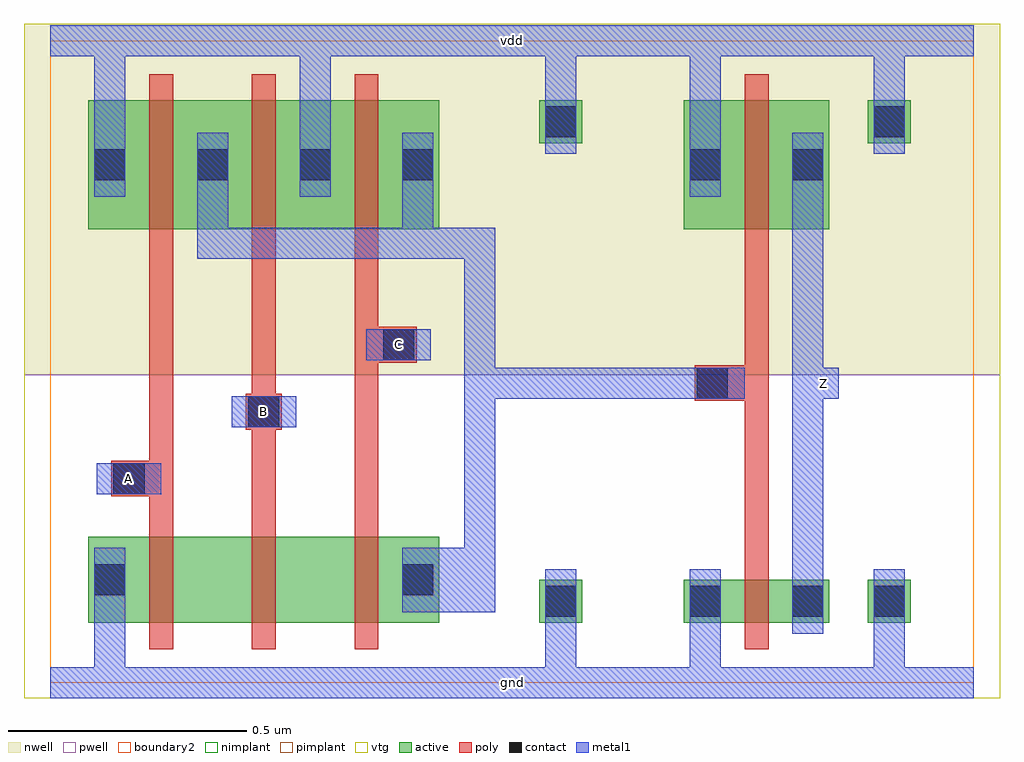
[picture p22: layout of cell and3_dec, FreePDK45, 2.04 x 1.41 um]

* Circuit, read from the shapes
.subckt and3_dec A B C Z gnd vdd
M1 pnand3_0/nmos_m1_w0_180_sm1_dactive_3/D A gnd gnd nfet w=0.18u l=0.05u
M2 pnand3_0/nmos_m1_w0_180_sactive_dactive_4/D B pnand3_0/nmos_m1_w0_180_sm1_dactive_3/D gnd nfet w=0.18u l=0.05u
M3 pinv_1/A C pnand3_0/nmos_m1_w0_180_sactive_dactive_4/D gnd nfet w=0.18u l=0.05u
M4 Z pinv_1/A gnd gnd nfet w=0.09u l=0.05u
M5 pinv_1/A A vdd vdd pfet w=0.27u l=0.05u
M6 vdd B pinv_1/A vdd pfet w=0.27u l=0.05u
M7 pinv_1/A C vdd vdd pfet w=0.27u l=0.05u
M8 Z pinv_1/A vdd vdd pfet w=0.27u l=0.05u
.ends

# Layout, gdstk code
import gdstk
lib = gdstk.Library(unit=1e-6, precision=5e-10)
def R(c, l, rs):  # rectangles x0, y0, x1, y1
    for r in rs: c.add(gdstk.rectangle(r[:2], r[2:], *l))
def A(c, l, x, y, w, h, nx, ny, dx, dy):  # array of equal rectangles
    R(c, l, [(x+i*dx, y+j*dy, x+i*dx+w, y+j*dy+h) for i in range(nx) for j in range(ny)])
active = (1, 0)
pwell = (2, 0)
nwell = (3, 0)
nimplant = (4, 0)
pimplant = (5, 0)
vtg = (6, 0)
poly = (9, 0)
contact = (10, 0)
metal1 = (11, 0)
boundary2 = (239, 0)

contact_10 = lib.new_cell('contact_10')
R(contact_10, active, [(0,0.0225,0.09,0.1125)])
R(contact_10, nwell, [(-0.055,-0.0325,0.145,0.1675)])
R(contact_10, pimplant, [(0,0.0225,0.09,0.1125)])
R(contact_10, contact, [(0.0125,0.035,0.0775,0.1)])
R(contact_10, metal1, [(0.0125,0,0.0775,0.135)])
R(contact_10, boundary2, [(-0.055,-0.0325,0.145,0.1675)])

pmos_m1_w0_270_sm1_dm1 = lib.new_cell('pmos_m1_w0_270_sm1_dm1')
R(pmos_m1_w0_270_sm1_dm1, active, [(0,0,0.305,0.27)])
R(pmos_m1_w0_270_sm1_dm1, nwell, [(-0.08,-0.08,0.385,0.35)])
R(pmos_m1_w0_270_sm1_dm1, pimplant, [(0,0,0.305,0.27)])
R(pmos_m1_w0_270_sm1_dm1, vtg, [(-0.08,-0.08,0.385,0.35)])
R(pmos_m1_w0_270_sm1_dm1, poly, [(0.1275,-0.055,0.1775,0.325), (0.1275,-0.055,0.1775,0.325)])
R(pmos_m1_w0_270_sm1_dm1, metal1, [(0.0125,0.0675,0.0775,0.2025), (0.2275,0.0675,0.2925,0.2025)])
R(pmos_m1_w0_270_sm1_dm1, boundary2, [(-0.08,-0.08,0.385,0.35)])
pmos_m1_w0_270_sm1_dm1.add(gdstk.Reference(contact_10, (0,0.0675)))
pmos_m1_w0_270_sm1_dm1.add(gdstk.Reference(contact_10, (0.215,0.0675)))
pmos_m1_w0_270_sm1_dm1.add(gdstk.Label('S', (0.045,0.135), layer=11, texttype=0))
pmos_m1_w0_270_sm1_dm1.add(gdstk.Label('D', (0.26,0.135), layer=11, texttype=0))
pmos_m1_w0_270_sm1_dm1.add(gdstk.Label('G', (0.1525,0.135), layer=9, texttype=0))

contact_9 = lib.new_cell('contact_9')
R(contact_9, active, [(0,0.0225,0.09,0.1125)])
R(contact_9, pwell, [(-0.055,-0.0325,0.145,0.1675)])
R(contact_9, nimplant, [(0,0.0225,0.09,0.1125)])
R(contact_9, contact, [(0.0125,0.035,0.0775,0.1)])
R(contact_9, metal1, [(0.0125,0,0.0775,0.135)])
R(contact_9, boundary2, [(-0.055,-0.0325,0.145,0.1675)])

nmos_m1_w0_180_sm1_dacti = lib.new_cell('nmos_m1_w0_180_sm1_dactive')
R(nmos_m1_w0_180_sm1_dacti, active, [(0,0,0.305,0.18), (0.215,0.045,0.305,0.135)])
R(nmos_m1_w0_180_sm1_dacti, pwell, [(-0.08,-0.08,0.385,0.26)])
R(nmos_m1_w0_180_sm1_dacti, nimplant, [(0,0,0.305,0.18)])
R(nmos_m1_w0_180_sm1_dacti, vtg, [(-0.08,-0.08,0.385,0.26)])
R(nmos_m1_w0_180_sm1_dacti, poly, [(0.1275,-0.055,0.1775,0.235), (0.1275,-0.055,0.1775,0.235)])
R(nmos_m1_w0_180_sm1_dacti, metal1, [(0.0125,0.0225,0.0775,0.1575)])
R(nmos_m1_w0_180_sm1_dacti, boundary2, [(-0.08,-0.08,0.385,0.26)])
nmos_m1_w0_180_sm1_dacti.add(gdstk.Reference(contact_9, (0,0.0225)))
nmos_m1_w0_180_sm1_dacti.add(gdstk.Label('S', (0.045,0.09), layer=11, texttype=0))
nmos_m1_w0_180_sm1_dacti.add(gdstk.Label('D', (0.26,0.09), layer=1, texttype=0))
nmos_m1_w0_180_sm1_dacti.add(gdstk.Label('G', (0.1525,0.09), layer=9, texttype=0))

nmos_m1_w0_180_sactive_d = lib.new_cell('nmos_m1_w0_180_sactive_dactive')
R(nmos_m1_w0_180_sactive_d, active, [(0,0,0.305,0.18), (0,0.045,0.09,0.135), (0.215,0.045,0.305,0.135)])
R(nmos_m1_w0_180_sactive_d, pwell, [(-0.08,-0.08,0.385,0.26)])
R(nmos_m1_w0_180_sactive_d, nimplant, [(0,0,0.305,0.18)])
R(nmos_m1_w0_180_sactive_d, vtg, [(-0.08,-0.08,0.385,0.26)])
R(nmos_m1_w0_180_sactive_d, poly, [(0.1275,-0.055,0.1775,0.235), (0.1275,-0.055,0.1775,0.235)])
R(nmos_m1_w0_180_sactive_d, boundary2, [(-0.08,-0.08,0.385,0.26)])
nmos_m1_w0_180_sactive_d.add(gdstk.Label('S', (0.045,0.09), layer=1, texttype=0))
nmos_m1_w0_180_sactive_d.add(gdstk.Label('D', (0.26,0.09), layer=1, texttype=0))
nmos_m1_w0_180_sactive_d.add(gdstk.Label('G', (0.1525,0.09), layer=9, texttype=0))

c_nmos_m1_w0_180_sactive_d = lib.new_cell('nmos_m1_w0_180_sactive_dm1')
R(c_nmos_m1_w0_180_sactive_d, active, [(0,0,0.305,0.18), (0,0.045,0.09,0.135)])
R(c_nmos_m1_w0_180_sactive_d, pwell, [(-0.08,-0.08,0.385,0.26)])
R(c_nmos_m1_w0_180_sactive_d, nimplant, [(0,0,0.305,0.18)])
R(c_nmos_m1_w0_180_sactive_d, vtg, [(-0.08,-0.08,0.385,0.26)])
R(c_nmos_m1_w0_180_sactive_d, poly, [(0.1275,-0.055,0.1775,0.235), (0.1275,-0.055,0.1775,0.235)])
R(c_nmos_m1_w0_180_sactive_d, metal1, [(0.2275,0.0225,0.2925,0.1575)])
R(c_nmos_m1_w0_180_sactive_d, boundary2, [(-0.08,-0.08,0.385,0.26)])
c_nmos_m1_w0_180_sactive_d.add(gdstk.Reference(contact_9, (0.215,0.0225)))
c_nmos_m1_w0_180_sactive_d.add(gdstk.Label('D', (0.26,0.09), layer=11, texttype=0))
c_nmos_m1_w0_180_sactive_d.add(gdstk.Label('S', (0.045,0.09), layer=1, texttype=0))
c_nmos_m1_w0_180_sactive_d.add(gdstk.Label('G', (0.1525,0.09), layer=9, texttype=0))

contact_11 = lib.new_cell('contact_11')
R(contact_11, active, [(0,0.0225,0.09,0.1125)])
R(contact_11, nwell, [(-0.055,-0.0325,0.145,0.1675)])
R(contact_11, nimplant, [(0,0.0225,0.09,0.1125)])
R(contact_11, contact, [(0.0125,0.035,0.0775,0.1)])
R(contact_11, metal1, [(0.0125,0,0.0775,0.135)])
R(contact_11, boundary2, [(-0.055,-0.0325,0.145,0.1675)])

contact_12 = lib.new_cell('contact_12')
R(contact_12, active, [(0,0.0225,0.09,0.1125)])
R(contact_12, pwell, [(-0.055,-0.0325,0.145,0.1675)])
R(contact_12, pimplant, [(0,0.0225,0.09,0.1125)])
R(contact_12, contact, [(0.0125,0.035,0.0775,0.1)])
R(contact_12, metal1, [(0.0125,0,0.0775,0.135)])
R(contact_12, boundary2, [(-0.055,-0.0325,0.145,0.1675)])

contact_13 = lib.new_cell('contact_13')
R(contact_13, poly, [(0.03,0,0.105,0.075)])
R(contact_13, contact, [(0.035,0.005,0.1,0.07)])
R(contact_13, metal1, [(0,0.005,0.135,0.07)])
R(contact_13, boundary2, [(0,0,0.135,0.075)])

pnand3 = lib.new_cell('pnand3')
R(pnand3, pwell, [(-0.055,-0.0325,1.3025,0.645)])
R(pnand3, nwell, [(-0.055,0.645,1.3025,1.38)])
R(pnand3, vtg, [(-0.055,-0.0325,1.3025,0.645), (-0.055,0.645,1.3025,1.38)])
A(pnand3, poly, 0.2075, 0.36, 0.05, 0.535, 3, 1, 0.215, 0)
R(pnand3, poly, [(0.165,0.39,0.2075,0.465), (0.4225,0.53,0.4475,0.605), (0.6375,0.67,0.73,0.745)])
R(pnand3, metal1, [(0,-0.0325,1.2475,0.0325), (0.0925,-0.0325,0.1575,0.1475), (1.0375,0,1.1025,0.17), (0.77,0.1475,0.9,0.2825), (0.8675,0.1475,0.9325,0.92), (0.0975,0.395,0.2325,0.46), (0.38,0.535,0.515,0.6), (0.6625,0.675,0.7975,0.74), (0.3075,0.8875,0.3725,0.9525), (0.34,0.8875,0.9,0.9525), (0.7375,0.8875,0.8025,0.9525), (0.77,0.8875,0.9,0.9525), (0.8675,0.8875,0.9325,0.9525), (0.3075,0.92,0.3725,1.085), (0.7375,0.92,0.8025,1.085), (0.0925,1.0175,0.1575,1.3775), (0.5225,1.0175,0.5875,1.3775), (1.0375,1.175,1.1025,1.345), (0,1.3125,1.2475,1.3775)])
R(pnand3, boundary2, [(0,0,1.2475,1.345), (0,0,1.2475,1.345)])
pnand3.add(gdstk.Reference(pmos_m1_w0_270_sm1_dm1, (0.08,0.95)))
pnand3.add(gdstk.Reference(pmos_m1_w0_270_sm1_dm1, (0.295,0.95)))
pnand3.add(gdstk.Reference(pmos_m1_w0_270_sm1_dm1, (0.51,0.95)))
pnand3.add(gdstk.Reference(nmos_m1_w0_180_sm1_dacti, (0.08,0.125)))
pnand3.add(gdstk.Reference(nmos_m1_w0_180_sactive_d, (0.295,0.125)))
pnand3.add(gdstk.Reference(c_nmos_m1_w0_180_sactive_d, (0.51,0.125)))
pnand3.add(gdstk.Reference(contact_11, (1.025,1.1075)))
pnand3.add(gdstk.Reference(contact_12, (1.025,0.1025)))
pnand3.add(gdstk.Reference(contact_13, (0.0975,0.39)))
pnand3.add(gdstk.Reference(contact_13, (0.38,0.53)))
pnand3.add(gdstk.Reference(contact_13, (0.6625,0.67)))
pnand3.add(gdstk.Label('A', (0.165,0.4275), layer=11, texttype=0))
pnand3.add(gdstk.Label('B', (0.4475,0.5675), layer=11, texttype=0))
pnand3.add(gdstk.Label('C', (0.73,0.7075), layer=11, texttype=0))
pnand3.add(gdstk.Label('Z', (0.9,0.92), layer=11, texttype=0))
pnand3.add(gdstk.Label('gnd', (0.624,0), layer=11, texttype=0))
pnand3.add(gdstk.Label('vdd', (0.624,1.345), layer=11, texttype=0))

pmos_m1_w0_270_sm1_dm1_d = lib.new_cell('pmos_m1_w0_270_sm1_dm1_da_p')
R(pmos_m1_w0_270_sm1_dm1_d, active, [(0,0,0.305,0.27)])
R(pmos_m1_w0_270_sm1_dm1_d, nwell, [(-0.08,-0.08,0.385,0.35)])
R(pmos_m1_w0_270_sm1_dm1_d, pimplant, [(0,0,0.305,0.27)])
R(pmos_m1_w0_270_sm1_dm1_d, vtg, [(-0.08,-0.08,0.385,0.35)])
R(pmos_m1_w0_270_sm1_dm1_d, poly, [(0.1275,-0.055,0.1775,0.325), (0.1275,-0.055,0.1775,0.325)])
R(pmos_m1_w0_270_sm1_dm1_d, metal1, [(0.0125,0.0675,0.0775,0.2025), (0.2275,0.0675,0.2925,0.2025)])
R(pmos_m1_w0_270_sm1_dm1_d, boundary2, [(-0.08,-0.08,0.385,0.35)])
pmos_m1_w0_270_sm1_dm1_d.add(gdstk.Reference(contact_10, (0,0.0675)))
pmos_m1_w0_270_sm1_dm1_d.add(gdstk.Reference(contact_10, (0.215,0.0675)))
pmos_m1_w0_270_sm1_dm1_d.add(gdstk.Label('S', (0.045,0.135), layer=11, texttype=0))
pmos_m1_w0_270_sm1_dm1_d.add(gdstk.Label('D', (0.26,0.135), layer=11, texttype=0))
pmos_m1_w0_270_sm1_dm1_d.add(gdstk.Label('G', (0.1525,0.135), layer=9, texttype=0))

nmos_m1_w0_090_sm1_dm1_d = lib.new_cell('nmos_m1_w0_090_sm1_dm1_da_p')
R(nmos_m1_w0_090_sm1_dm1_d, active, [(0,0,0.305,0.09)])
R(nmos_m1_w0_090_sm1_dm1_d, pwell, [(-0.08,-0.08,0.385,0.17)])
R(nmos_m1_w0_090_sm1_dm1_d, nimplant, [(0,0,0.305,0.09)])
R(nmos_m1_w0_090_sm1_dm1_d, vtg, [(-0.08,-0.08,0.385,0.17)])
R(nmos_m1_w0_090_sm1_dm1_d, poly, [(0.1275,-0.055,0.1775,0.145), (0.1275,-0.055,0.1775,0.145)])
R(nmos_m1_w0_090_sm1_dm1_d, metal1, [(0.0125,-0.0225,0.0775,0.1125), (0.2275,-0.0225,0.2925,0.1125)])
R(nmos_m1_w0_090_sm1_dm1_d, boundary2, [(-0.08,-0.08,0.385,0.17)])
nmos_m1_w0_090_sm1_dm1_d.add(gdstk.Reference(contact_9, (0,-0.0225)))
nmos_m1_w0_090_sm1_dm1_d.add(gdstk.Reference(contact_9, (0.215,-0.0225)))
nmos_m1_w0_090_sm1_dm1_d.add(gdstk.Label('S', (0.045,0.045), layer=11, texttype=0))
nmos_m1_w0_090_sm1_dm1_d.add(gdstk.Label('D', (0.26,0.045), layer=11, texttype=0))
nmos_m1_w0_090_sm1_dm1_d.add(gdstk.Label('G', (0.1525,0.045), layer=9, texttype=0))

pinv = lib.new_cell('pinv')
R(pinv, pwell, [(-0.055,-0.0325,0.7425,0.645)])
R(pinv, nwell, [(-0.055,0.645,0.7425,1.38)])
R(pinv, vtg, [(-0.055,-0.0325,0.7425,0.645), (-0.055,0.645,0.7425,1.38)])
R(pinv, poly, [(0.2075,0.27,0.2575,0.895), (0.14,0.59,0.2075,0.665)])
R(pinv, metal1, [(0,-0.0325,0.6875,0.0325), (0.0925,-0.0325,0.1575,0.1025), (0.4775,0,0.5425,0.17), (0.3075,0.1025,0.3725,1.1525), (0.0725,0.595,0.2075,0.66), (0.34,0.595,0.405,0.66), (0.0925,1.0175,0.1575,1.3775), (0.4775,1.175,0.5425,1.345), (0,1.3125,0.6875,1.3775)])
R(pinv, boundary2, [(0,0,0.6875,1.345), (0,0,0.6875,1.345)])
pinv.add(gdstk.Reference(pmos_m1_w0_270_sm1_dm1_d, (0.08,0.95)))
pinv.add(gdstk.Reference(nmos_m1_w0_090_sm1_dm1_d, (0.08,0.125)))
pinv.add(gdstk.Reference(contact_11, (0.465,1.1075)))
pinv.add(gdstk.Reference(contact_12, (0.465,0.1025)))
pinv.add(gdstk.Reference(contact_13, (0.0725,0.59)))
pinv.add(gdstk.Label('A', (0.14,0.6275), layer=11, texttype=0))
pinv.add(gdstk.Label('Z', (0.3725,0.6275), layer=11, texttype=0))
pinv.add(gdstk.Label('gnd', (0.344,0), layer=11, texttype=0))
pinv.add(gdstk.Label('vdd', (0.344,1.345), layer=11, texttype=0))

and3_dec = lib.new_cell('and3_dec')
R(and3_dec, metal1, [(0,-0.0325,1.935,0.0325), (0.0975,0.395,0.2325,0.46), (0.38,0.535,0.515,0.6), (0.8675,0.595,0.9325,0.66), (0.9,0.595,1.3875,0.66), (1.5875,0.595,1.6525,0.66), (0.8675,0.6275,0.9325,0.92), (0.6625,0.675,0.7975,0.74), (0,1.3125,1.935,1.3775)])
R(and3_dec, boundary2, [(0,0,1.935,1.345)])
and3_dec.add(gdstk.Reference(pnand3, (0,0)))
and3_dec.add(gdstk.Reference(pinv, (1.2475,0)))
and3_dec.add(gdstk.Label('Z', (1.62,0.6275), layer=11, texttype=0))
and3_dec.add(gdstk.Label('A', (0.165,0.4275), layer=11, texttype=0))
and3_dec.add(gdstk.Label('B', (0.4475,0.5675), layer=11, texttype=0))
and3_dec.add(gdstk.Label('C', (0.73,0.7075), layer=11, texttype=0))
and3_dec.add(gdstk.Label('gnd', (0.9675,0), layer=11, texttype=0))
and3_dec.add(gdstk.Label('vdd', (0.9675,1.345), layer=11, texttype=0))

lib.write_gds('and3_dec.gds')
